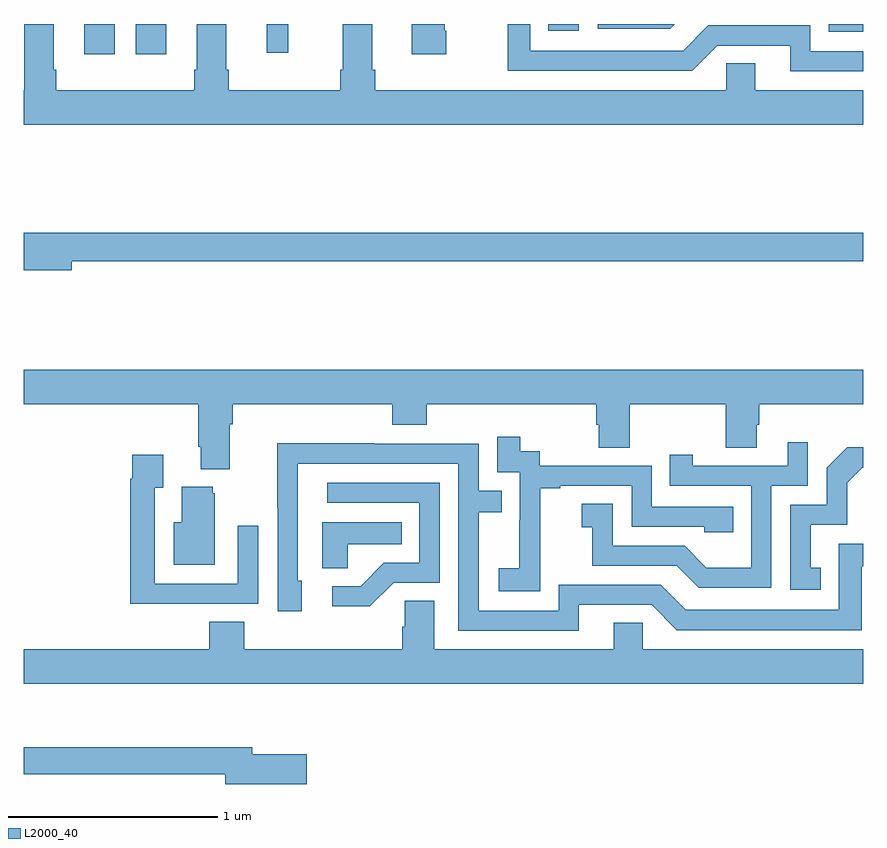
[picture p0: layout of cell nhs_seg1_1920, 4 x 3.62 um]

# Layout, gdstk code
import gdstk
lib = gdstk.Library(unit=1e-6, precision=1e-09)
def R(c, l, rs):  # rectangles x0, y0, x1, y1
    for r in rs: c.add(gdstk.rectangle(r[:2], r[2:], *l))
def P(c, l, *ps):  # polygons
    for p in ps: c.add(gdstk.Polygon(p, *l))
L2000_40 = (2000, 40)

nhs_seg1_1920 = lib.new_cell('nhs_seg1_1920')
R(nhs_seg1_1920, L2000_40, [(215.288,564.054,215.434,564.199), (215.534,564.054,215.68,564.199), (216.158,564.063,216.26,564.199), (218.836,564.161,219,564.199), (217.498,564.168,217.644,564.199)])
P(nhs_seg1_1920, L2000_40, [(218.102,564.199),(217.734,564.199),(217.734,564.177),(218.08,564.177)],
  [(219,564.069),(218.748,564.069),(218.748,564.192),(218.262,564.192),(218.142,564.072),(217.413,564.072),(217.413,564.199),(217.305,564.199),(217.305,563.976),(218.184,563.976),(218.304,564.096),(218.651,564.096),(218.651,563.973),(219,563.973)],
  [(217.014,564.166),(217.006,564.166),(217.006,564.199),(216.848,564.199),(216.848,564.054),(217.014,564.054)],
  [(219,563.884),(218.485,563.884),(218.485,564.011),(218.346,564.011),(218.346,563.884),(216.674,563.884),(216.674,563.98),(216.661,563.98),(216.661,564.199),(216.521,564.199),(216.521,563.98),(216.509,563.98),(216.509,563.884),(215.978,563.884),(215.978,563.98),(215.965,563.98),(215.965,564.199),(215.825,564.199),(215.825,563.98),(215.813,563.98),(215.813,563.884),(215.156,563.884),(215.156,563.98),(215.143,563.98),(215.143,564.199),(215.003,564.199),(215.003,563.884),(215,563.884),(215,563.72),(219,563.72)],
  [(215.23,563.068),(219,563.068),(219,563.204),(215,563.204),(215,563.026),(215.23,563.026)],
  [(215.983,562.292),(215.996,562.292),(215.996,562.388),(216.755,562.388),(216.755,562.289),(216.92,562.289),(216.92,562.388),(217.727,562.388),(217.727,562.29),(217.739,562.29),(217.739,562.18),(217.887,562.18),(217.887,562.388),(218.344,562.388),(218.344,562.18),(218.491,562.18),(218.491,562.29),(218.504,562.29),(218.504,562.388),(219,562.388),(219,562.552),(215,562.552),(215,562.388),(215.831,562.388),(215.831,562.186),(215.843,562.186),(215.843,562.079),(215.983,562.079)],
  [(217.461,561.703),(217.46,561.703),(217.46,561.987),(217.555,561.987),(217.555,561.999),(217.896,561.999),(217.896,561.804),(218.241,561.804),(218.241,561.777),(218.381,561.777),(218.381,561.9),(217.992,561.9),(217.992,562.095),(217.458,562.095),(217.458,562.164),(217.366,562.164),(217.366,562.234),(217.257,562.234),(217.257,562.065),(217.362,562.065),(217.362,561.836),(217.361,561.836),(217.361,561.607),(217.263,561.607),(217.263,561.497),(217.461,561.497)],
  [(218.562,561.999),(218.736,561.999),(218.736,562.207),(218.639,562.207),(218.639,562.095),(218.188,562.095),(218.188,562.147),(218.077,562.147),(218.077,561.999),(218.466,561.999),(218.466,561.61),(218.252,561.61),(218.148,561.714),(217.806,561.714),(217.806,561.913),(217.659,561.913),(217.659,561.803),(217.708,561.803),(217.708,561.618),(218.111,561.618),(218.216,561.513),(218.562,561.513)],
  [(217.645,561.432),(217.992,561.432),(218.112,561.312),(218.992,561.312),(218.992,561.615),(219,561.615),(219,561.723),(218.883,561.723),(218.883,561.408),(218.154,561.408),(218.034,561.528),(217.548,561.528),(217.548,561.405),(217.167,561.405),(217.167,561.874),(217.277,561.874),(217.277,561.975),(217.167,561.975),(217.167,562.2),(216.671,562.2),(216.671,562.202),(216.208,562.202),(216.208,561.895),(216.21,561.895),(216.21,561.402),(216.325,561.402),(216.325,561.546),(216.306,561.546),(216.306,562.104),(217.071,562.104),(217.071,561.309),(217.645,561.309)],
  [(218.798,561.609),(218.749,561.609),(218.749,561.813),(218.922,561.813),(218.922,562.014),(218.994,562.086),(219,562.086),(219,562.184),(218.924,562.184),(218.826,562.086),(218.826,561.909),(218.652,561.909),(218.652,561.504),(218.798,561.504)],
  [(215.801,561.438),(216.117,561.438),(216.117,561.808),(216.021,561.808),(216.021,561.534),(215.625,561.534),(215.625,561.991),(215.665,561.991),(215.665,562.147),(215.517,562.147),(215.517,562.034),(215.509,562.034),(215.509,561.437),(215.801,561.437)],
  [(216.762,561.537),(216.981,561.537),(216.981,562.014),(216.447,562.014),(216.447,561.918),(216.885,561.918),(216.885,561.633),(216.716,561.633),(216.605,561.522),(216.471,561.522),(216.471,561.425),(216.649,561.425)],
  [(215.911,561.963),(215.9,561.963),(215.9,561.994),(215.753,561.994),(215.753,561.826),(215.714,561.826),(215.714,561.623),(215.911,561.623)],
  [(216.543,561.722),(216.8,561.722),(216.8,561.826),(216.422,561.826),(216.422,561.607),(216.543,561.607)],
  [(219,561.22),(217.95,561.22),(217.95,561.347),(217.811,561.347),(217.811,561.22),(216.955,561.22),(216.955,561.452),(216.816,561.452),(216.816,561.329),(216.803,561.329),(216.803,561.22),(216.05,561.22),(216.05,561.353),(215.885,561.353),(215.885,561.22),(215,561.22),(215,561.056),(219,561.056)],
  [(216.349,560.721),(216.088,560.721),(216.088,560.755),(215,560.755),(215,560.626),(215.96,560.626),(215.96,560.579),(216.349,560.579)])

lib.write_gds('nhs_seg1_1920.gds')
